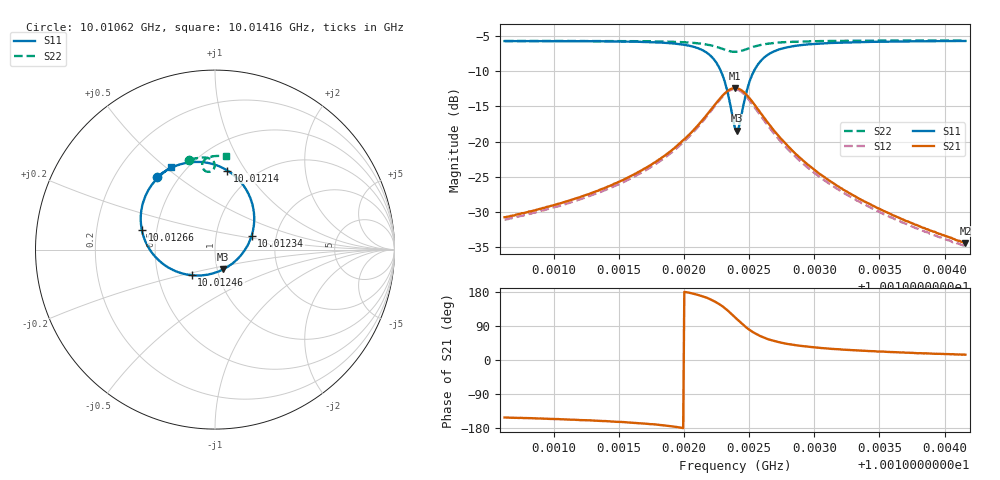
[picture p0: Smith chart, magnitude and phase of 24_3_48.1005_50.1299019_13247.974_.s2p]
#  HZ  S  RI  R  50.00
! Rohde & Schwarz Vector Network Analyzer
! Rohde-Schwarz,ZNB20-2Port,1311601062101988,3.16
! Created: UTC 12/23/2023, 3:37:00 AM
! freq[Hz]  re:S11  im:S11  re:S21  im:S21  re:S12  im:S12  re:S22  im:S22
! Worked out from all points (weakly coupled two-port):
!   401 points, 10.01062 GHz to 10.01416 GHz, reference 50 ohm
!   highest |S21| = -12.37 dB at 10.01239 GHz (marker M1); lowest = -34.4 dB at 10.01416 GHz (marker M2)
!   lowest |S11| = -18.5 dB at 10.01241 GHz (marker M3), VSWR 1.27, Z = 53.4 - j12 ohm
!   |S11| at or under -10 dB: 10.01228 GHz to 10.01254 GHz (252.6 kHz wide, 0.00252 % of centre)
!   |S22| runs from -7.2 to -5.6 dB; largest |S21 - S12| = 0.011
!   S11 on the Smith chart (normalised r, x): 10.01062 GHz: 0.38, +0.42; 10.01214 GHz: 0.76, +0.83; 10.01234 GHz: 1.49, +0.24; 10.01246 GHz: 0.74, -0.22; 10.01266 GHz: 0.41, +0.11; 10.01416 GHz: 0.42, +0.52
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1.0010622e10  -0.3258 0.4032  -0.0256 -0.0137  -0.0238 -0.0147  -0.1421 0.5001
1.0011215e10  -0.2683 0.4429  -0.0381 -0.0149  -0.0358 -0.0162  -0.1013 0.5094
1.0011551e10  -0.2153 0.4677  -0.0526 -0.0148  -0.0497 -0.0168  -0.0752 0.5129
1.0011807e10  -0.1465 0.4853  -0.0738 -0.0115  -0.0704 -0.015  -0.0523 0.5129
1.0011993e10  -0.0571 0.486  -0.1021 -0.000511  -0.0986 -0.00649  -0.0316 0.5082
1.0012143e10  0.0695 0.4405  -0.1399 0.0297  -0.1376 0.0215  -0.0116 0.495
1.0012205e10  0.1389 0.3819  -0.1578 0.0587  -0.1572 0.0488  -0.00436 0.4834
1.0012258e10  0.1948 0.2924  -0.1675 0.0974  -0.1692 0.087  -0.00125 0.4688
1.0012302e10  0.2186 0.1811  -0.1645 0.1398  -0.1677 0.1305  -0.00456 0.454
1.0012338e10  0.2036 0.0753  -0.1472 0.1774  -0.152 0.1685  -0.0125 0.4427
1.0012391e10  0.0994 -0.0758  -0.0927 0.2221  -0.098 0.2149  -0.0339 0.4333
1.0012409e10  0.0456 -0.1104  -0.0701 0.229  -0.0749 0.2221  -0.0419 0.4337
1.0012426e10  -0.0131 -0.1331  -0.0465 0.2316  -0.0513 0.2248  -0.0495 0.4357
1.0012462e10  -0.1303 -0.1429  -0.00166 0.2238  -0.0065 0.217  -0.0616 0.4441
1.0012497e10  -0.2304 -0.1154  0.0332 0.2039  0.0267 0.1972  -0.0689 0.4555
1.0012541e10  -0.3197 -0.0534  0.0596 0.1728  0.0531 0.1671  -0.0717 0.4694
1.0012656e10  -0.4077 0.1089  0.078 0.1059  0.0708 0.1034  -0.0629 0.4948
1.0012798e10  -0.4078 0.2327  0.0688 0.0622  0.0629 0.0618  -0.0461 0.509
1.0012983e10  -0.3789 0.3168  0.054 0.0362  0.0498 0.0366  -0.0264 0.5165
1.001324e10  -0.3403 0.3761  0.0398 0.0202  0.0368 0.0211  -0.0036 0.5207
1.0013576e10  -0.2997 0.4178  0.0289 0.0111  0.0267 0.0118  0.0225 0.522
1.0014159e10  -0.2446 0.4583  0.0185 0.00461  0.0173 0.00535  0.0635 0.52
